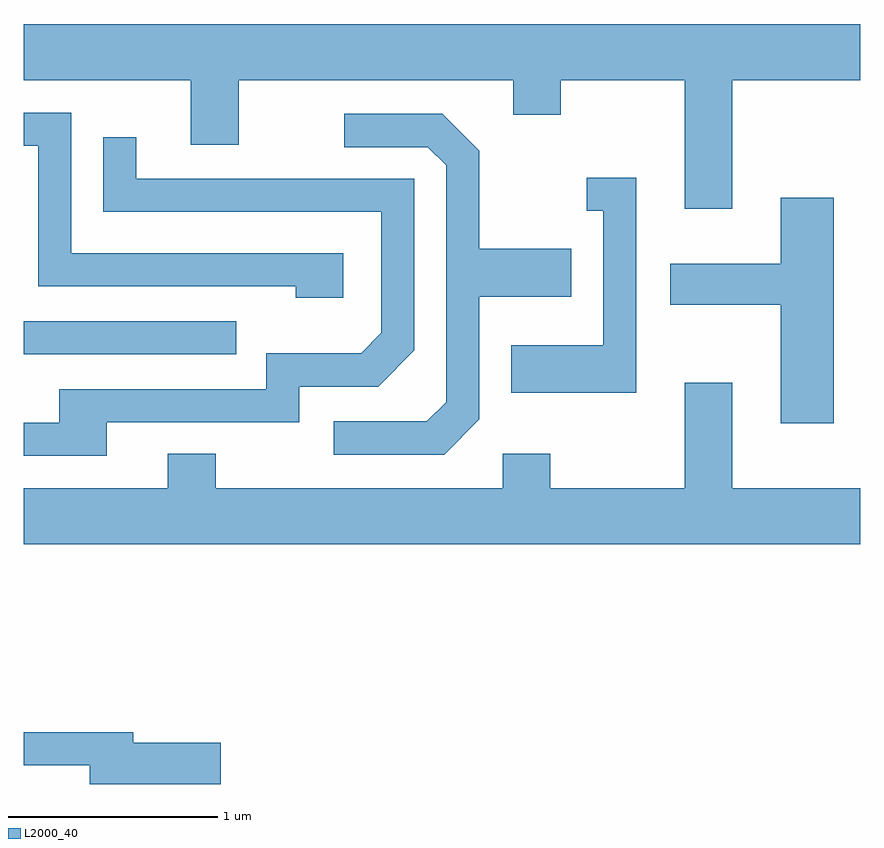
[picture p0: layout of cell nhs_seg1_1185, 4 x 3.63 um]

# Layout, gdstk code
import gdstk
lib = gdstk.Library(unit=1e-6, precision=1e-09)
def R(c, l, rs):  # rectangles x0, y0, x1, y1
    for r in rs: c.add(gdstk.rectangle(r[:2], r[2:], *l))
def P(c, l, *ps):  # polygons
    for p in ps: c.add(gdstk.Polygon(p, *l))
L2000_40 = (2000, 40)

nhs_seg1_1185 = lib.new_cell('nhs_seg1_1185')
R(nhs_seg1_1185, L2000_40, [(221.611,913.806,222.628,913.964)])
P(nhs_seg1_1185, L2000_40, [(224.999,915.116),(225.611,915.116),(225.611,915.384),(221.611,915.384),(221.611,915.116),(222.411,915.116),(222.411,914.806),(222.639,914.806),(222.639,915.116),(223.951,915.116),(223.951,914.951),(224.179,914.951),(224.179,915.116),(224.771,915.116),(224.771,914.501),(224.999,914.501)],
  [(223.139,914.289),(221.839,914.289),(221.839,914.959),(221.611,914.959),(221.611,914.801),(221.681,914.801),(221.681,914.131),(222.911,914.131),(222.911,914.076),(223.139,914.076)],
  [(223.789,913.494),(223.789,914.081),(224.229,914.081),(224.229,914.309),(223.789,914.309),(223.789,914.777),(223.612,914.954),(223.143,914.954),(223.143,914.796),(223.544,914.796),(223.631,914.709),(223.631,913.577),(223.539,913.484),(223.093,913.484),(223.093,913.326),(223.622,913.326)],
  [(222.009,913.481),(222.929,913.481),(222.929,913.651),(223.307,913.651),(223.479,913.824),(223.479,914.644),(222.149,914.644),(222.149,914.843),(221.991,914.843),(221.991,914.486),(223.321,914.486),(223.321,913.907),(223.224,913.809),(222.771,913.809),(222.771,913.639),(221.781,913.639),(221.781,913.479),(221.611,913.479),(221.611,913.321),(222.009,913.321)],
  [(224.539,914.649),(224.303,914.649),(224.303,914.491),(224.381,914.491),(224.381,913.849),(223.941,913.849),(223.941,913.621),(224.539,913.621)],
  [(225.484,914.554),(225.231,914.554),(225.231,914.239),(224.701,914.239),(224.701,914.041),(225.231,914.041),(225.231,913.476),(225.484,913.476)],
  [(225.611,913.164),(224.999,913.164),(224.999,913.669),(224.771,913.669),(224.771,913.164),(224.129,913.164),(224.129,913.329),(223.901,913.329),(223.901,913.164),(222.529,913.164),(222.529,913.329),(222.301,913.329),(222.301,913.164),(221.611,913.164),(221.611,912.896),(225.611,912.896)],
  [(222.554,911.949),(222.134,911.949),(222.134,911.999),(221.611,911.999),(221.611,911.841),(221.926,911.841),(221.926,911.751),(222.554,911.751)])

lib.write_gds('nhs_seg1_1185.gds')
